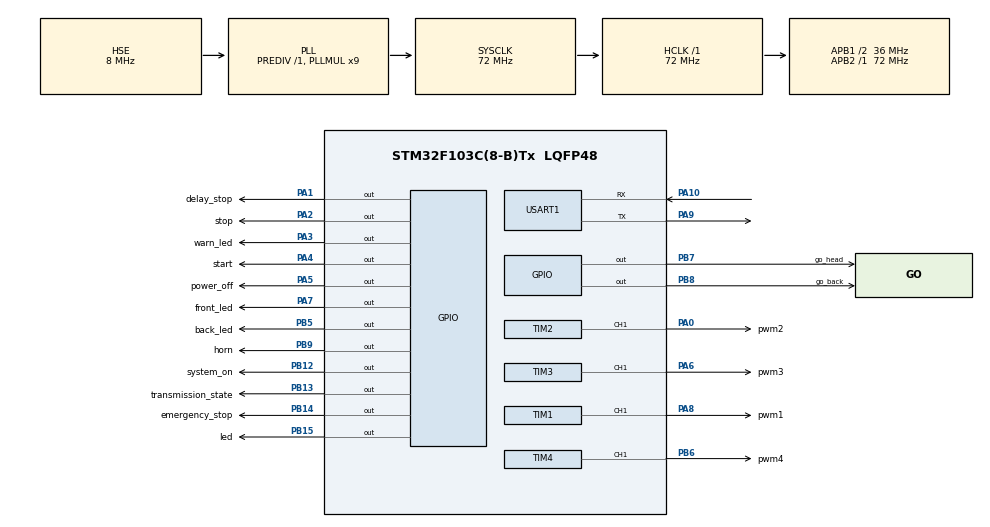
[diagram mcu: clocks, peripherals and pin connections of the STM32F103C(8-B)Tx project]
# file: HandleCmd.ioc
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Mcu.Family=STM32F1
Mcu.Name=STM32F103C(8-B)Tx
Mcu.Package=LQFP48
NVIC.PriorityGroup=NVIC_PRIORITYGROUP_2
NVIC.USART1_IRQn=true\:2\:1\:true\:false\:true
PA0-WKUP.GPIO_Label=pwm2
PA0-WKUP.Signal=S_TIM2_CH1_ETR
PA1.GPIO_Label=delay_stop
PA1.Signal=GPIO_Output
PA10.Mode=Asynchronous
PA10.Signal=USART1_RX
PA2.GPIO_Label=stop
PA2.Signal=GPIO_Output
PA3.GPIO_Label=warn_led
PA3.Signal=GPIO_Output
PA4.GPIO_Label=start
PA4.Signal=GPIO_Output
PA5.GPIO_Label=power_off
PA5.Signal=GPIO_Output
PA6.GPIO_Label=pwm3
PA6.Signal=S_TIM3_CH1
PA7.GPIO_Label=front_led
PA7.Signal=GPIO_Output
PA8.GPIO_Label=pwm1
PA8.Signal=S_TIM1_CH1
PA9.Mode=Asynchronous
PA9.Signal=USART1_TX
PB12.GPIO_Label=system_on
PB12.Signal=GPIO_Output
PB13.GPIO_Label=transmission_state
PB13.Signal=GPIO_Output
PB14.GPIO_Label=emergency_stop
PB14.Signal=GPIO_Output
PB15.GPIO_Label=led
PB15.Signal=GPIO_Output
PB5.GPIO_Label=back_led
PB5.Signal=GPIO_Output
PB6.GPIO_Label=pwm4
PB6.Signal=S_TIM4_CH1
PB7.GPIO_Label=go_head
PB7.Signal=GPIO_Output
PB8.GPIO_Label=go_back
PB8.Signal=GPIO_Output
PB9.GPIO_Label=horn
PB9.Signal=GPIO_Output
PC14-OSC32_IN.Mode=LSE-External-Oscillator
PC14-OSC32_IN.Signal=RCC_OSC32_IN
PC15-OSC32_OUT.Mode=LSE-External-Oscillator
PC15-OSC32_OUT.Signal=RCC_OSC32_OUT
PD0-OSC_IN.Mode=HSE-External-Oscillator
PD0-OSC_IN.Signal=RCC_OSC_IN
PD1-OSC_OUT.Mode=HSE-External-Oscillator
PD1-OSC_OUT.Signal=RCC_OSC_OUT
ProjectManager.HeapSize=0x200
ProjectManager.StackSize=0x400
ProjectManager.TargetToolchain=MDK-ARM V5
RCC.AHBFreq_Value=72000000
RCC.APB1CLKDivider=RCC_HCLK_DIV2
RCC.APB1Freq_Value=36000000
RCC.APB1TimFreq_Value=72000000
RCC.APB2Freq_Value=72000000
RCC.APB2TimFreq_Value=72000000
RCC.HCLKFreq_Value=72000000
RCC.PLLMUL=RCC_PLL_MUL9
RCC.PLLSourceVirtual=RCC_PLLSOURCE_HSE
RCC.SYSCLKFreq_VALUE=72000000
RCC.SYSCLKSource=RCC_SYSCLKSOURCE_PLLCLK
RCC.USBFreq_Value=72000000
SH.S_TIM1_CH1.0=TIM1_CH1,PWM Generation1 CH1
SH.S_TIM2_CH1_ETR.0=TIM2_CH1,PWM Generation1 CH1
SH.S_TIM3_CH1.0=TIM3_CH1,PWM Generation1 CH1
SH.S_TIM4_CH1.0=TIM4_CH1,PWM Generation1 CH1
TIM1.Channel-PWM\ Generation1\ CH1=TIM_CHANNEL_1
TIM1.Period=255-1
TIM1.Prescaler=7200-1
TIM2.Channel-PWM\ Generation1\ CH1=TIM_CHANNEL_1
TIM2.Period=255-1
TIM2.Prescaler=7200-1
TIM3.Channel-PWM\ Generation1\ CH1=TIM_CHANNEL_1
TIM3.Period=255-1
TIM3.Prescaler=7200-1
TIM4.Channel-PWM\ Generation1\ CH1=TIM_CHANNEL_1
TIM4.Period=255-1
TIM4.Prescaler=7200-1
USART1.VirtualMode=VM_ASYNC
VP_SYS_VS_ND.Mode=No_Debug
board=HandleCmd

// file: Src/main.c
/**
  ******************************************************************************
  * File Name          : main.c
  * Description        : Main program body
  ******************************************************************************
  ** This notice applies to any and all portions of this file
  * that are not between comment pairs USER CODE BEGIN and
  * USER CODE END. Other portions of this file, whether
  * inserted by the user or by software development tools
  * are owned by their respective copyright owners.
  *
  * COPYRIGHT(c) 2017 STMicroelectronics
  *
  * Redistribution and use in source and binary forms, with or without modification,
  * are permitted provided that the following conditions are met:
  *   1. Redistributions of source code must retain the above copyright notice,
  *      this list of conditions and the following disclaimer.
  *   2. Redistributions in binary form must reproduce the above copyright notice,
  *      this list of conditions and the following disclaimer in the documentation
  *      and/or other materials provided with the distribution.
  *   3. Neither the name of STMicroelectronics nor the names of its contributors
  *      may be used to endorse or promote products derived from this software
  *      without specific prior written permission.
  *
  * THIS SOFTWARE IS PROVIDED BY THE COPYRIGHT HOLDERS AND CONTRIBUTORS "AS IS"
  * AND ANY EXPRESS OR IMPLIED WARRANTIES, INCLUDING, BUT NOT LIMITED TO, THE
  * IMPLIED WARRANTIES OF MERCHANTABILITY AND FITNESS FOR A PARTICULAR PURPOSE ARE
  * DISCLAIMED. IN NO EVENT SHALL THE COPYRIGHT HOLDER OR CONTRIBUTORS BE LIABLE
  * FOR ANY DIRECT, INDIRECT, INCIDENTAL, SPECIAL, EXEMPLARY, OR CONSEQUENTIAL
  * DAMAGES (INCLUDING, BUT NOT LIMITED TO, PROCUREMENT OF SUBSTITUTE GOODS OR
  * SERVICES; LOSS OF USE, DATA, OR PROFITS; OR BUSINESS INTERRUPTION) HOWEVER
  * CAUSED AND ON ANY THEORY OF LIABILITY, WHETHER IN CONTRACT, STRICT LIABILITY,
  * OR TORT (INCLUDING NEGLIGENCE OR OTHERWISE) ARISING IN ANY WAY OUT OF THE USE
  * OF THIS SOFTWARE, EVEN IF ADVISED OF THE POSSIBILITY OF SUCH DAMAGE.
  *
  ******************************************************************************
  */
#include "main.h"
#include "stm32f1xx_hal.h"
#include "tim.h"
#include "usart.h"
#include "gpio.h"

/* USER CODE BEGIN PV */
/* Private variables ---------------------------------------------------------*/

/* USER CODE END PV */

void SystemClock_Config(void);

/* USER CODE BEGIN PFP */
/* Private function prototypes -----------------------------------------------*/

/* USER CODE END PFP */

/* USER CODE BEGIN 0 */

void handle_cmd(uint8_t *data);

/* USER CODE END 0 */

int main(void)
{

  /* USER CODE BEGIN 1 */

	uint8_t crc = 0, i = 0;
	uint8_t rxdata[10] = {0}, cmddata[8] = {0};

  /* USER CODE END 1 */

  /* MCU Configuration----------------------------------------------------------*/

  /* Reset of all peripherals, Initializes the Flash interface and the Systick. */
  HAL_Init();

  /* Configure the system clock */
  SystemClock_Config();

  /* Initialize all configured peripherals */
  MX_GPIO_Init();
  MX_USART1_UART_Init();
  MX_TIM1_Init();
  MX_TIM3_Init();
  MX_TIM2_Init();
  MX_TIM4_Init();

  /* Infinite loop */
  /* USER CODE BEGIN WHILE */
  while (1)
  {
		HAL_UART_Receive(&huart1, rxdata, 1, 100);
		if(rxdata[0] != 0xA5) {
			rxdata[0] = 0;
			continue;
		}
		HAL_UART_Receive(&huart1, &rxdata[1], 1, 100);
		if(rxdata[1] != 0x02) {
			rxdata[1] = 0;
			continue;
		}
//		HAL_UART_Receive(&huart1, rxdata, 1, 100);
//		while(rxdata[0] == 0xA5) {
//			HAL_UART_Receive(&huart1, &rxdata[1] =
//			HAL_UART_Receive(&huart1, rxdata, 1, 100);
//		}
		HAL_UART_Receive(&huart1, &rxdata[2], 8, 100);
		crc = rxdata[0];
		for(i = 1; i < 9; i++) {
			crc ^= rxdata[i];
		}
		if(crc != rxdata[9]) {
			continue;
		}

		HAL_GPIO_TogglePin(GPIOB, led_Pin);

		for(i = 0; i < 8; i++) {
			cmddata[i] = rxdata[i+1];
		}

		handle_cmd(cmddata);

//		HAL_Delay(10);

  /* USER CODE END WHILE */

  }

}

/** System Clock Configuration
*/
void SystemClock_Config(void)
{

  RCC_OscInitTypeDef RCC_OscInitStruct;
  RCC_ClkInitTypeDef RCC_ClkInitStruct;

    /**Initializes the CPU, AHB and APB busses clocks
    */
  RCC_OscInitStruct.OscillatorType = RCC_OSCILLATORTYPE_HSE;
  RCC_OscInitStruct.HSEState = RCC_HSE_ON;
  RCC_OscInitStruct.HSEPredivValue = RCC_HSE_PREDIV_DIV1;
  RCC_OscInitStruct.HSIState = RCC_HSI_ON;
  RCC_OscInitStruct.PLL.PLLState = RCC_PLL_ON;
  RCC_OscInitStruct.PLL.PLLSource = RCC_PLLSOURCE_HSE;
  RCC_OscInitStruct.PLL.PLLMUL = RCC_PLL_MUL9;
  if (HAL_RCC_OscConfig(&RCC_OscInitStruct) != HAL_OK)
  {
    _Error_Handler(__FILE__, __LINE__);
  }

    /**Initializes the CPU, AHB and APB busses clocks
    */
  RCC_ClkInitStruct.ClockType = RCC_CLOCKTYPE_HCLK|RCC_CLOCKTYPE_SYSCLK
                              |RCC_CLOCKTYPE_PCLK1|RCC_CLOCKTYPE_PCLK2;
  RCC_ClkInitStruct.SYSCLKSource = RCC_SYSCLKSOURCE_PLLCLK;
  RCC_ClkInitStruct.AHBCLKDivider = RCC_SYSCLK_DIV1;
  RCC_ClkInitStruct.APB1CLKDivider = RCC_HCLK_DIV2;
  RCC_ClkInitStruct.APB2CLKDivider = RCC_HCLK_DIV1;

  if (HAL_RCC_ClockConfig(&RCC_ClkInitStruct, FLASH_LATENCY_2) != HAL_OK)
  {
    _Error_Handler(__FILE__, __LINE__);
  }

    /**Configure the Systick interrupt time
    */
  HAL_SYSTICK_Config(HAL_RCC_GetHCLKFreq()/1000);

    /**Configure the Systick
    */
  HAL_SYSTICK_CLKSourceConfig(SYSTICK_CLKSOURCE_HCLK);

  /* SysTick_IRQn interrupt configuration */
  HAL_NVIC_SetPriority(SysTick_IRQn, 0, 0);
}

/* USER CODE BEGIN 4 */

void handle_cmd(uint8_t *data)
{
	// handle data1
	delay_stop(data[1]&0x01);
	stop(data[1]&0x02);
	warn_led(data[1]&0x04);
	start(data[1]&0x08);
	power_off(data[1]&0x10);
	front_led(data[1]&0x20);
	back_led(data[1]&0x40);

	// handle data2
	go_head(data[2]&0x01);
	go_back(data[2]&0x02);
	horn(data[2]&0x04);
	system_on(data[2]&0x08);

	// handle data5
	transmission_state(data[3]&0x01);
	emergency_stop(data[3]&0x80);

	// handle data6~data9
	pwm_setValue(1, data[4]);
	pwm_setValue(2, data[5]);
	pwm_setValue(3, data[6]);
	pwm_setValue(4, data[7]);
}

/* USER CODE END 4 */

void _Error_Handler(char * file, int line)
{
  while(1)
  {
  }
}

/************************ (C) COPYRIGHT STMicroelectronics *****END OF FILE****/
